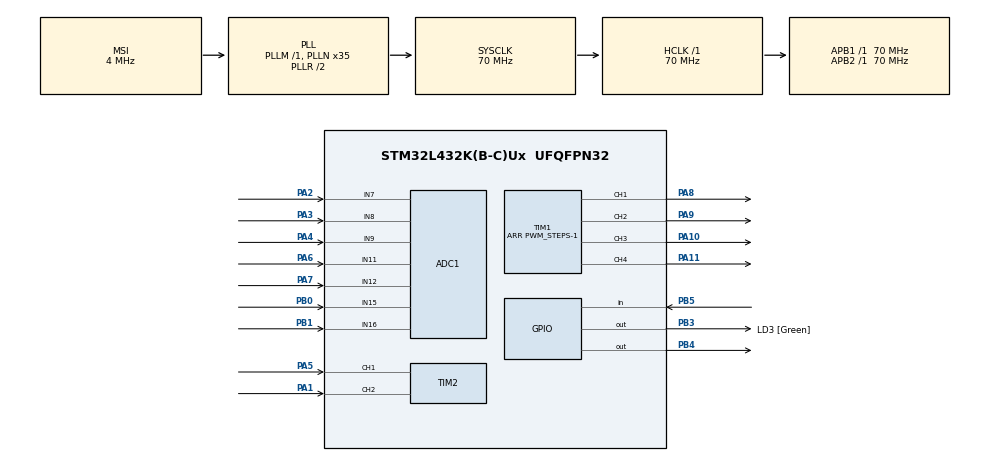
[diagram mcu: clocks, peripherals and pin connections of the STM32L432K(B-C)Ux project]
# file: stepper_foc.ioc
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ADC1.Channel-10\#ChannelRegularConversion=ADC_CHANNEL_15
ADC1.Channel-11\#ChannelRegularConversion=ADC_CHANNEL_16
ADC1.Channel-5\#ChannelRegularConversion=ADC_CHANNEL_7
ADC1.Channel-6\#ChannelRegularConversion=ADC_CHANNEL_8
ADC1.Channel-7\#ChannelRegularConversion=ADC_CHANNEL_9
ADC1.Channel-8\#ChannelRegularConversion=ADC_CHANNEL_11
ADC1.Channel-9\#ChannelRegularConversion=ADC_CHANNEL_12
ADC1.ContinuousConvMode=ENABLE
ADC1.DMAContinuousRequests=ENABLE
ADC1.EOCSelection=ADC_EOC_SEQ_CONV
ADC1.NbrOfConversion=7
ADC1.NbrOfConversionFlag=1
ADC1.OffsetNumber-10\#ChannelRegularConversion=ADC_OFFSET_NONE
ADC1.OffsetNumber-11\#ChannelRegularConversion=ADC_OFFSET_NONE
ADC1.OffsetNumber-5\#ChannelRegularConversion=ADC_OFFSET_NONE
ADC1.OffsetNumber-6\#ChannelRegularConversion=ADC_OFFSET_NONE
ADC1.OffsetNumber-7\#ChannelRegularConversion=ADC_OFFSET_NONE
ADC1.OffsetNumber-8\#ChannelRegularConversion=ADC_OFFSET_NONE
ADC1.OffsetNumber-9\#ChannelRegularConversion=ADC_OFFSET_NONE
ADC1.Rank-10\#ChannelRegularConversion=6
ADC1.Rank-11\#ChannelRegularConversion=7
ADC1.Rank-5\#ChannelRegularConversion=1
ADC1.Rank-6\#ChannelRegularConversion=2
ADC1.Rank-7\#ChannelRegularConversion=3
ADC1.Rank-8\#ChannelRegularConversion=4
ADC1.Rank-9\#ChannelRegularConversion=5
ADC1.SamplingTime-10\#ChannelRegularConversion=ADC_SAMPLETIME_24CYCLES_5
ADC1.SamplingTime-11\#ChannelRegularConversion=ADC_SAMPLETIME_24CYCLES_5
ADC1.SamplingTime-5\#ChannelRegularConversion=ADC_SAMPLETIME_24CYCLES_5
ADC1.SamplingTime-6\#ChannelRegularConversion=ADC_SAMPLETIME_24CYCLES_5
ADC1.SamplingTime-7\#ChannelRegularConversion=ADC_SAMPLETIME_24CYCLES_5
ADC1.SamplingTime-8\#ChannelRegularConversion=ADC_SAMPLETIME_24CYCLES_5
ADC1.SamplingTime-9\#ChannelRegularConversion=ADC_SAMPLETIME_24CYCLES_5
ADC1.master=1
Dma.ADC1.0.Direction=DMA_PERIPH_TO_MEMORY
Dma.ADC1.0.Instance=DMA1_Channel1
Dma.ADC1.0.MemDataAlignment=DMA_MDATAALIGN_HALFWORD
Dma.ADC1.0.MemInc=DMA_MINC_ENABLE
Dma.ADC1.0.Mode=DMA_CIRCULAR
Dma.ADC1.0.PeriphDataAlignment=DMA_PDATAALIGN_HALFWORD
Dma.ADC1.0.PeriphInc=DMA_PINC_DISABLE
Dma.ADC1.0.Priority=DMA_PRIORITY_LOW
Dma.Request0=ADC1
Mcu.Family=STM32L4
Mcu.Name=STM32L432K(B-C)Ux
Mcu.Package=UFQFPN32
NVIC.DMA1_Channel1_IRQn=true\:0\:0\:false\:false\:true\:false\:true\:true
NVIC.PriorityGroup=NVIC_PRIORITYGROUP_4
NVIC.TIM1_UP_TIM16_IRQn=true\:0\:0\:false\:false\:true\:true\:true\:true
NVIC.TIM2_IRQn=true\:0\:0\:false\:false\:true\:true\:true\:true
PA0.GPIO_Label=MCO [High speed clock in]
PA0.Mode=HSE-External-Clock-Source-for-LittleOrca
PA0.Signal=RCC_CK_IN
PA1.Signal=S_TIM2_CH2
PA10.Signal=S_TIM1_CH3
PA11.Signal=S_TIM1_CH4
PA13\ (JTMS-SWDIO).GPIO_Label=SWDIO
PA13\ (JTMS-SWDIO).Mode=Serial_Wire
PA13\ (JTMS-SWDIO).Signal=SYS_JTMS-SWDIO
PA14\ (JTCK-SWCLK).GPIO_Label=SWCLK
PA14\ (JTCK-SWCLK).Mode=Serial_Wire
PA14\ (JTCK-SWCLK).Signal=SYS_JTCK-SWCLK
PA2.Signal=ADCx_IN7
PA3.Signal=ADCx_IN8
PA4.Signal=ADCx_IN9
PA5.Signal=S_TIM2_CH1
PA6.Signal=ADCx_IN11
PA7.Signal=ADCx_IN12
PA8.Signal=S_TIM1_CH1
PA9.Signal=S_TIM1_CH2
PB0.Signal=ADCx_IN15
PB1.Signal=ADCx_IN16
PB3\ (JTDO-TRACESWO).GPIO_Label=LD3 [Green]
PB3\ (JTDO-TRACESWO).Signal=GPIO_Output
PB4\ (NJTRST).Signal=GPIO_Output
PB5.GPIO_PuPd=GPIO_PULLUP
PB5.Signal=GPIO_Input
PC14-OSC32_IN\ (PC14).Mode=LSE-External-Oscillator
PC14-OSC32_IN\ (PC14).Signal=RCC_OSC32_IN
PC15-OSC32_OUT\ (PC15).Mode=LSE-External-Oscillator
PC15-OSC32_OUT\ (PC15).Signal=RCC_OSC32_OUT
ProjectManager.HeapSize=0x200
ProjectManager.StackSize=0x400
ProjectManager.TargetToolchain=STM32CubeIDE
RCC.ADCFreq_Value=32000000
RCC.AHBFreq_Value=70000000
RCC.APB1Freq_Value=70000000
RCC.APB1TimFreq_Value=70000000
RCC.APB2Freq_Value=70000000
RCC.APB2TimFreq_Value=70000000
RCC.CortexFreq_Value=70000000
RCC.HCLKFreq_Value=70000000
RCC.HSE_VALUE=8000000
RCC.HSI16_VALUE=16000000
RCC.HSI48_VALUE=48000000
RCC.HSI_VALUE=16000000
RCC.MSI_VALUE=4000000
RCC.PLLMUL=RCC_PLLMUL_4
RCC.PLLN=35
RCC.PLLSAI1N=16
RCC.SYSCLKFreq_VALUE=70000000
RCC.SYSCLKSource=RCC_SYSCLKSOURCE_PLLCLK
RCC.USBFreq_Value=32000000
RCC.VCOOutputFreq_Value=140000000
SH.ADCx_IN11.0=ADC1_IN11,IN11-Single-Ended
SH.ADCx_IN12.0=ADC1_IN12,IN12-Single-Ended
SH.ADCx_IN15.0=ADC1_IN15,IN15-Single-Ended
SH.ADCx_IN16.0=ADC1_IN16,IN16-Single-Ended
SH.ADCx_IN7.0=ADC1_IN7,IN7-Single-Ended
SH.ADCx_IN8.0=ADC1_IN8,IN8-Single-Ended
SH.ADCx_IN9.0=ADC1_IN9,IN9-Single-Ended
SH.S_TIM1_CH1.0=TIM1_CH1,PWM Generation1 CH1
SH.S_TIM1_CH2.0=TIM1_CH2,PWM Generation2 CH2
SH.S_TIM1_CH3.0=TIM1_CH3,PWM Generation3 CH3
SH.S_TIM1_CH4.0=TIM1_CH4,PWM Generation4 CH4
SH.S_TIM2_CH1.0=TIM2_CH1,Encoder_Interface
SH.S_TIM2_CH2.0=TIM2_CH2,Encoder_Interface
TIM1.AutoReloadPreload=TIM_AUTORELOAD_PRELOAD_ENABLE
TIM1.Channel-PWM\ Generation1\ CH1=TIM_CHANNEL_1
TIM1.Channel-PWM\ Generation2\ CH2=TIM_CHANNEL_2
TIM1.Channel-PWM\ Generation3\ CH3=TIM_CHANNEL_3
TIM1.Channel-PWM\ Generation4\ CH4=TIM_CHANNEL_4
TIM1.OCFastMode_PWM-PWM\ Generation1\ CH1=TIM_OCFAST_ENABLE
TIM1.OCFastMode_PWM-PWM\ Generation2\ CH2=TIM_OCFAST_ENABLE
TIM1.OCFastMode_PWM-PWM\ Generation3\ CH3=TIM_OCFAST_ENABLE
TIM1.OCFastMode_PWM-PWM\ Generation4\ CH4=TIM_OCFAST_ENABLE
TIM1.Period=PWM_STEPS-1
TIM16.Period=TS-1
TIM16.Prescaler=70-1
TIM2.AutoReloadPreload=TIM_AUTORELOAD_PRELOAD_ENABLE
TIM2.EncoderMode=TIM_ENCODERMODE_TI12
TIM2.Period=ENCODER_STEPS-1
VP_TIM16_VS_ClockSourceINT.Mode=Enable_Timer
board=NUCLEO-L432KC

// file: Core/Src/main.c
/* USER CODE BEGIN Header */
/**
  ******************************************************************************
  * @file           : main.c
  * @brief          : Main program body
  ******************************************************************************
  * @attention
  *
  * Copyright (c) 2022 STMicroelectronics.
  * All rights reserved.
  *
  * This software is licensed under terms that can be found in the LICENSE file
  * in the root directory of this software component.
  * If no LICENSE file comes with this software, it is provided AS-IS.
  *
  ******************************************************************************
  */
/* USER CODE END Header */
#include "main.h"

/* USER CODE BEGIN Includes */
#include <math.h>
#include <stdlib.h>

/* USER CODE END Includes */

/* USER CODE BEGIN PD */
#define ENCODER_STEPS 4000					// steps of the encoder per revolution times four (due to quadrature read out)
#define PWM_STEPS 1400						// The PWM timer counts from 0 to PWM_STEPS-1 with a clock of 70 MHz (PWM_STEPS 1400 results in 50 kHz PWM frequency)
#define ADC_REF_VOLTAGE 3.3
#define ADC_STEPS 4096						// 12 bit resolution
#define SUPPLY_VOLTAGE_DIVIDER_RATIO 11.0	// the voltage on the adc channel monitoring the supply voltage is V_supply/SUPPLY_VOLTAGE_DIVIDER_RATIO
#define CURRENT_SENSOR_SENSITIVITY 0.3126	// sensitivity of the current sensor in V/A
#define TS 250								// period of the main loop in microseconds (sampling time of the current controller)
#define ALIGNMENT_TIME 3000					// for ALIGNMENT_TIME milliseconds, motor phase A is driven with approximately I_MAX in order to define the rotor zero position in which the d-axis and the a-axis are aligned
#define I_MAX 1.5		    				// maximal i_d, i_q currents
#define OVERCURRENT_LIMIT 1.9     			// i_a or i_b exceeding this current leads to a shutdown (over current protection is only active when the current controllers are running, not during the alignment phase)
#define MINIMAL_SUPPLY_VOLTAGE 8.0  		// no PWM output if the supply voltage is below MINIMAL_SUPPLY_VOLTAGE
#define PWM_STEPS_OFFSET 85					// due to the dead time of the H-bridge ic, a compare value of PWM_STEPS_OFFSET still produces zero output (PWM_STEPS_OFFSET is needed for compensating this effect)

// motor parameters
#define L 1.2E-3	// phase inductance
#define R 0.7		// phase resistance (taking into account H-bridge and wiring resistance)
#define NR 50		// number of rotor teeth (50 for a standard stepper motor with 1.8 degree step angle)

/* USER CODE END PD */

 ADC_HandleTypeDef hadc1;
DMA_HandleTypeDef hdma_adc1;

TIM_HandleTypeDef htim1;
TIM_HandleTypeDef htim2;
TIM_HandleTypeDef htim16;

/* USER CODE BEGIN PV */
volatile char triggered = 0;	/* This variable is set periodically in an
interrupt, whenever time Ts has passed. When set, the control algorithm in the main loop is executed. */

/* USER CODE END PV */

void SystemClock_Config(void);
static void MX_GPIO_Init(void);
static void MX_TIM1_Init(void);
static void MX_DMA_Init(void);
static void MX_TIM16_Init(void);
static void MX_ADC1_Init(void);
static void MX_TIM2_Init(void);
/* USER CODE BEGIN PFP */
void set_output_a(float v_a, float v_supply);
void set_output_b(float v_b, float v_supply);

/* USER CODE END PFP */

int main(void)
{
  /* USER CODE BEGIN 1 */

  // generate sin and cos tables (although periodic, generate them for all the NR electrical revolutions since there is enough memory available)
  float* sin_table = malloc(ENCODER_STEPS * sizeof(float));
  float* cos_table = malloc(ENCODER_STEPS * sizeof(float));
  for (int i = 0; i < ENCODER_STEPS; i++) {
	  float arg = i * 2 * NR * M_PI / ENCODER_STEPS;
	  sin_table[i] = (float)sin(arg);
	  cos_table[i] = (float)cos(arg);
  }

  // calculate the controller parameters
  // current controller C(z)=V*(z-exp(-R/L * Ts))/(z-1) results in closed-loop pole at 1-V/R*(1-exp(-R/L * Ts)), which must be within the unit circle
  const float E = exp(-R/L * TS * 1E-6);
  const float V = (6.0/I_MAX) < (R/(1-exp(-R/L * TS * 1E-6))) ? (6.0/I_MAX) : (R/(1-exp(-R/L * TS * 1E-6)));	/* controller gain such that for a step input i_d_ref (i_q_ref) with height I_MAX, the voltage v_d (v_q) does not exceed 6 V
 	 and such that the closed-loop pole is within the interval [0,1) */

  // calculate the conversion factors for converting the ADC readings to SI units (volts or amps)
  const float ADC_SUPPLY_VOLTAGE_CONVERSION_FACTOR = ADC_REF_VOLTAGE * SUPPLY_VOLTAGE_DIVIDER_RATIO / (float)ADC_STEPS;
  const float ADC_CURRENT_CONVERSION_FACTOR = ADC_REF_VOLTAGE / CURRENT_SENSOR_SENSITIVITY / (float)ADC_STEPS;
  const float ADC_REF_INPUTS_CONVERSION_FACTOR = 2 * I_MAX / (float)ADC_STEPS;

  /* USER CODE END 1 */

  /* MCU Configuration--------------------------------------------------------*/

  /* Reset of all peripherals, Initializes the Flash interface and the Systick. */
  HAL_Init();

  /* Configure the system clock */
  SystemClock_Config();

  /* Initialize all configured peripherals */
  MX_GPIO_Init();
  MX_TIM1_Init();
  MX_DMA_Init();
  MX_TIM16_Init();
  MX_ADC1_Init();
  MX_TIM2_Init();
  /* USER CODE BEGIN 2 */

  TIM1->CCR1 = 0;
  TIM1->CCR2 = 0;
  TIM1->CCR3 = 0;
  TIM1->CCR4 = 0;
  HAL_TIM_PWM_Start(&htim1, TIM_CHANNEL_1);		// phase B in_A
  HAL_TIM_PWM_Start(&htim1, TIM_CHANNEL_2);		// phase A in_A
  HAL_TIM_PWM_Start(&htim1, TIM_CHANNEL_3);		// phase A in_B
  HAL_TIM_PWM_Start(&htim1, TIM_CHANNEL_4);		// phase B in_B
  HAL_TIM_Encoder_Start(&htim2, TIM_CHANNEL_ALL);
  HAL_TIM_Base_Start_IT(&htim16);

  uint16_t adc_buf[7];		// ordering: adc_buf[0]: supply voltage
  	  	  	  	  	  	  	//			 adc_buf[1]: current sensor phase B ref
  	  	  	  	  	  	  	//			 adc_buf[2]: current sensor phase B out
  	  	  	  	  	  	  	//			 adc_buf[3]: current sensor phase A ref
    	  	  	  	  	  	//			 adc_buf[4]: current sensor phase A out
  	  	  	  	  	  	    //			 adc_buf[5]: i_d ref
      	  	  	  	  	  	//			 adc_buf[6]: i_q ref

  HAL_ADC_Start_DMA(&hadc1, (uint32_t*)adc_buf, 7);

  /* USER CODE END 2 */

  /* Infinite loop */
  /* USER CODE BEGIN WHILE */
  float v_supply;
  float i_a, i_b;
  float v_a, v_b;
  float i_d,i_q;
  float v_d, v_q;
  float i_d_ref, i_q_ref;

  int cnt;
  float sin_value;
  float cos_value;

  float e_i_d, e_i_q;
  float e_i_d_prev = 0;
  float e_i_q_prev = 0;
  float v_d_prev = 0;
  float v_q_prev = 0;

  int limit_hit_flag = 0;

  HAL_Delay(100);
  // turn on green LED to indicate ready state and wait for button to be pressed before continuing
  HAL_GPIO_WritePin(GPIOB, GPIO_PIN_3, GPIO_PIN_SET);			// turn on green LED
  while(HAL_GPIO_ReadPin(GPIOB, GPIO_PIN_5) == GPIO_PIN_SET);	// wait for button being pressed
  HAL_GPIO_WritePin(GPIOB, GPIO_PIN_3, GPIO_PIN_RESET);			// turn off green LED

  /* Hold the current in phase A at approximately I_MAX for ALIGNMENT_TIME milliseconds. The position in which the rotor settles defines the
   * zero position in which the d-axis and the a-axis are aligned. */
  v_supply = (float)adc_buf[0] * ADC_SUPPLY_VOLTAGE_CONVERSION_FACTOR;
  //set_output_a(R * I_MAX, v_supply);
  set_output_a(R * I_MAX, v_supply);
  HAL_Delay(ALIGNMENT_TIME);
  TIM2->CNT = 0;
  set_output_a(0.0, 0.0);
  HAL_Delay(100);

  HAL_GPIO_WritePin(GPIOB, GPIO_PIN_3, GPIO_PIN_SET);			// turn on green LED
  while(HAL_GPIO_ReadPin(GPIOB, GPIO_PIN_5) == GPIO_PIN_SET);	// wait for button being pressed
  HAL_GPIO_WritePin(GPIOB, GPIO_PIN_3, GPIO_PIN_RESET);			// turn off green LED

  while (1)
  {
    /* USER CODE END WHILE */

    /* USER CODE BEGIN 3 */
	if (triggered) {
		triggered = 0;
		HAL_GPIO_WritePin(GPIOB, GPIO_PIN_3, GPIO_PIN_SET);		// allows for measuring the execution time of one cycle of the control algorithm via a oscilloscope

		// read the phase currents i_a and i_b
		i_a = (float)(adc_buf[4] - adc_buf[3]) * ADC_CURRENT_CONVERSION_FACTOR;
		i_b = (float)(adc_buf[2] - adc_buf[1]) * ADC_CURRENT_CONVERSION_FACTOR;

        // shut down if currents exceed the over current limit
        if (i_a > OVERCURRENT_LIMIT || i_b > OVERCURRENT_LIMIT || -i_a > OVERCURRENT_LIMIT || -i_b > OVERCURRENT_LIMIT) {
          set_output_a(0.0, 0.0);
          set_output_b(0.0, 0.0);
          HAL_GPIO_WritePin(GPIOB, GPIO_PIN_4, GPIO_PIN_SET);		// turn on the red LED
          while(1);   // wait for reset
        }

		// calculate the currents i_d and i_q
		cnt = TIM2->CNT;	// read the encoder angle

		sin_value = sin_table[cnt];
		cos_value = cos_table[cnt];

		i_d = cos_value * i_a + sin_value * i_b;
		i_q = -sin_value * i_a + cos_value * i_b;

		// read the set points i_d_ref and i_q_ref for the currents i_d and i_q
		//i_d_ref = (float)(adc_buf[5] - (ADC_STEPS >> 1)) * ADC_REF_INPUTS_CONVERSION_FACTOR;
		i_d_ref = 0;
		i_q_ref = (float)(adc_buf[6] - (ADC_STEPS >> 1)) * ADC_REF_INPUTS_CONVERSION_FACTOR;

		// calculate v_d and v_q via the current controllers difference equations
		e_i_d = i_d_ref - i_d;
		e_i_q = i_q_ref - i_q;

		v_d = V * (e_i_d - E * e_i_d_prev) + v_d_prev;
		v_q = V * (e_i_q - E * e_i_q_prev) + v_q_prev;

	    e_i_d_prev = e_i_d;
	    e_i_q_prev = e_i_q;

		// calculate the phase voltages v_a and v_b
		v_a = cos_value * v_d - sin_value * v_q;
		v_b = sin_value * v_d + cos_value * v_q;

		// check whether the calculated voltages are within the supply voltage (i.e. whether they are realizable)
		v_supply = (float)adc_buf[0] * ADC_SUPPLY_VOLTAGE_CONVERSION_FACTOR;	// read the supply voltage
		if (v_a > v_supply) {
			limit_hit_flag = 1;
			v_a = v_supply;
		} else if (v_a < -v_supply) {
			limit_hit_flag = 1;
		    v_a = -v_supply;
		}

		if (v_b > v_supply) {
			limit_hit_flag = 1;
		    v_b = v_supply;
		} else if (v_b < -v_supply) {
			limit_hit_flag = 1;
		    v_b = -v_supply;
		}

		// apply the calculated phase voltages v_a and v_b to the motor phases
		set_output_a(v_a, v_supply);
		set_output_b(v_b, v_supply);

		if (limit_hit_flag) {
			HAL_GPIO_WritePin(GPIOB, GPIO_PIN_4, GPIO_PIN_SET);		// turn on the red LED
			// calculate the actually realized v_d and v_q voltages (anti windup)
			v_d = cos_value * v_a + sin_value * v_b;
			v_q = -sin_value * v_a + cos_value * v_b;
			limit_hit_flag = 0;
		} else {
			HAL_GPIO_WritePin(GPIOB, GPIO_PIN_4, GPIO_PIN_RESET);	// turn off the red LED
		}

		v_d_prev = v_d;
		v_q_prev = v_q;

		HAL_GPIO_WritePin(GPIOB, GPIO_PIN_3, GPIO_PIN_RESET);	// allows for measuring the execution time of one cycle of the control algorithm via a oscilloscope
	}

  }
  /* USER CODE END 3 */
}

void SystemClock_Config(void)
{
  RCC_OscInitTypeDef RCC_OscInitStruct = {0};
  RCC_ClkInitTypeDef RCC_ClkInitStruct = {0};

  /** Configure the main internal regulator output voltage
  */
  if (HAL_PWREx_ControlVoltageScaling(PWR_REGULATOR_VOLTAGE_SCALE1) != HAL_OK)
  {
    Error_Handler();
  }

  /** Configure LSE Drive Capability
  */
  HAL_PWR_EnableBkUpAccess();
  __HAL_RCC_LSEDRIVE_CONFIG(RCC_LSEDRIVE_LOW);

  /** Initializes the RCC Oscillators according to the specified parameters
  * in the RCC_OscInitTypeDef structure.
  */
  RCC_OscInitStruct.OscillatorType = RCC_OSCILLATORTYPE_LSE|RCC_OSCILLATORTYPE_MSI;
  RCC_OscInitStruct.LSEState = RCC_LSE_ON;
  RCC_OscInitStruct.MSIState = RCC_MSI_ON;
  RCC_OscInitStruct.MSICalibrationValue = 0;
  RCC_OscInitStruct.MSIClockRange = RCC_MSIRANGE_6;
  RCC_OscInitStruct.PLL.PLLState = RCC_PLL_ON;
  RCC_OscInitStruct.PLL.PLLSource = RCC_PLLSOURCE_MSI;
  RCC_OscInitStruct.PLL.PLLM = 1;
  RCC_OscInitStruct.PLL.PLLN = 35;
  RCC_OscInitStruct.PLL.PLLP = RCC_PLLP_DIV7;
  RCC_OscInitStruct.PLL.PLLQ = RCC_PLLQ_DIV2;
  RCC_OscInitStruct.PLL.PLLR = RCC_PLLR_DIV2;
  if (HAL_RCC_OscConfig(&RCC_OscInitStruct) != HAL_OK)
  {
    Error_Handler();
  }

  /** Initializes the CPU, AHB and APB buses clocks
  */
  RCC_ClkInitStruct.ClockType = RCC_CLOCKTYPE_HCLK|RCC_CLOCKTYPE_SYSCLK
                              |RCC_CLOCKTYPE_PCLK1|RCC_CLOCKTYPE_PCLK2;
  RCC_ClkInitStruct.SYSCLKSource = RCC_SYSCLKSOURCE_PLLCLK;
  RCC_ClkInitStruct.AHBCLKDivider = RCC_SYSCLK_DIV1;
  RCC_ClkInitStruct.APB1CLKDivider = RCC_HCLK_DIV1;
  RCC_ClkInitStruct.APB2CLKDivider = RCC_HCLK_DIV1;

  if (HAL_RCC_ClockConfig(&RCC_ClkInitStruct, FLASH_LATENCY_4) != HAL_OK)
  {
    Error_Handler();
  }

  /** Enable MSI Auto calibration
  */
  HAL_RCCEx_EnableMSIPLLMode();
}

static void MX_ADC1_Init(void)
{

  ADC_ChannelConfTypeDef sConfig = {0};

  /** Common config
  */
  hadc1.Instance = ADC1;
  hadc1.Init.ClockPrescaler = ADC_CLOCK_ASYNC_DIV1;
  hadc1.Init.Resolution = ADC_RESOLUTION_12B;
  hadc1.Init.DataAlign = ADC_DATAALIGN_RIGHT;
  hadc1.Init.ScanConvMode = ADC_SCAN_ENABLE;
  hadc1.Init.EOCSelection = ADC_EOC_SEQ_CONV;
  hadc1.Init.LowPowerAutoWait = DISABLE;
  hadc1.Init.ContinuousConvMode = ENABLE;
  hadc1.Init.NbrOfConversion = 7;
  hadc1.Init.DiscontinuousConvMode = DISABLE;
  hadc1.Init.ExternalTrigConv = ADC_SOFTWARE_START;
  hadc1.Init.ExternalTrigConvEdge = ADC_EXTERNALTRIGCONVEDGE_NONE;
  hadc1.Init.DMAContinuousRequests = ENABLE;
  hadc1.Init.Overrun = ADC_OVR_DATA_PRESERVED;
  hadc1.Init.OversamplingMode = DISABLE;
  if (HAL_ADC_Init(&hadc1) != HAL_OK)
  {
    Error_Handler();
  }

  /** Configure Regular Channel
  */
  sConfig.Channel = ADC_CHANNEL_7;
  sConfig.Rank = ADC_REGULAR_RANK_1;
  sConfig.SamplingTime = ADC_SAMPLETIME_24CYCLES_5;
  sConfig.SingleDiff = ADC_SINGLE_ENDED;
  sConfig.OffsetNumber = ADC_OFFSET_NONE;
  sConfig.Offset = 0;
  if (HAL_ADC_ConfigChannel(&hadc1, &sConfig) != HAL_OK)
  {
    Error_Handler();
  }

  /** Configure Regular Channel
  */
  sConfig.Channel = ADC_CHANNEL_8;
  sConfig.Rank = ADC_REGULAR_RANK_2;
  if (HAL_ADC_ConfigChannel(&hadc1, &sConfig) != HAL_OK)
  {
    Error_Handler();
  }

  /** Configure Regular Channel
  */
  sConfig.Channel = ADC_CHANNEL_9;
  sConfig.Rank = ADC_REGULAR_RANK_3;
  if (HAL_ADC_ConfigChannel(&hadc1, &sConfig) != HAL_OK)
  {
    Error_Handler();
  }

  /** Configure Regular Channel
  */
  sConfig.Channel = ADC_CHANNEL_11;
  sConfig.Rank = ADC_REGULAR_RANK_4;
  if (HAL_ADC_ConfigChannel(&hadc1, &sConfig) != HAL_OK)
  {
    Error_Handler();
  }

  /** Configure Regular Channel
  */
  sConfig.Channel = ADC_CHANNEL_12;
  sConfig.Rank = ADC_REGULAR_RANK_5;
  if (HAL_ADC_ConfigChannel(&hadc1, &sConfig) != HAL_OK)
  {
    Error_Handler();
  }

  /** Configure Regular Channel
  */
  sConfig.Channel = ADC_CHANNEL_15;
  sConfig.Rank = ADC_REGULAR_RANK_6;
  if (HAL_ADC_ConfigChannel(&hadc1, &sConfig) != HAL_OK)
  {
    Error_Handler();
  }

  /** Configure Regular Channel
  */
  sConfig.Channel = ADC_CHANNEL_16;
  sConfig.Rank = ADC_REGULAR_RANK_7;
  if (HAL_ADC_ConfigChannel(&hadc1, &sConfig) != HAL_OK)
  {
    Error_Handler();
  }

}

static void MX_TIM1_Init(void)
{

  TIM_MasterConfigTypeDef sMasterConfig = {0};
  TIM_OC_InitTypeDef sConfigOC = {0};
  TIM_BreakDeadTimeConfigTypeDef sBreakDeadTimeConfig = {0};

  htim1.Instance = TIM1;
  htim1.Init.Prescaler = 0;
  htim1.Init.CounterMode = TIM_COUNTERMODE_UP;
  htim1.Init.Period = PWM_STEPS-1;
  htim1.Init.ClockDivision = TIM_CLOCKDIVISION_DIV1;
  htim1.Init.RepetitionCounter = 0;
  htim1.Init.AutoReloadPreload = TIM_AUTORELOAD_PRELOAD_ENABLE;
  if (HAL_TIM_PWM_Init(&htim1) != HAL_OK)
  {
    Error_Handler();
  }
  sMasterConfig.MasterOutputTrigger = TIM_TRGO_RESET;
  sMasterConfig.MasterOutputTrigger2 = TIM_TRGO2_RESET;
  sMasterConfig.MasterSlaveMode = TIM_MASTERSLAVEMODE_DISABLE;
  if (HAL_TIMEx_MasterConfigSynchronization(&htim1, &sMasterConfig) != HAL_OK)
  {
    Error_Handler();
  }
  sConfigOC.OCMode = TIM_OCMODE_PWM1;
  sConfigOC.Pulse = 0;
  sConfigOC.OCPolarity = TIM_OCPOLARITY_HIGH;
  sConfigOC.OCNPolarity = TIM_OCNPOLARITY_HIGH;
  sConfigOC.OCFastMode = TIM_OCFAST_ENABLE;
  sConfigOC.OCIdleState = TIM_OCIDLESTATE_RESET;
  sConfigOC.OCNIdleState = TIM_OCNIDLESTATE_RESET;
  if (HAL_TIM_PWM_ConfigChannel(&htim1, &sConfigOC, TIM_CHANNEL_1) != HAL_OK)
  {
    Error_Handler();
  }
  if (HAL_TIM_PWM_ConfigChannel(&htim1, &sConfigOC, TIM_CHANNEL_2) != HAL_OK)
  {
    Error_Handler();
  }
  if (HAL_TIM_PWM_ConfigChannel(&htim1, &sConfigOC, TIM_CHANNEL_3) != HAL_OK)
  {
    Error_Handler();
  }
  if (HAL_TIM_PWM_ConfigChannel(&htim1, &sConfigOC, TIM_CHANNEL_4) != HAL_OK)
  {
    Error_Handler();
  }
  sBreakDeadTimeConfig.OffStateRunMode = TIM_OSSR_DISABLE;
  sBreakDeadTimeConfig.OffStateIDLEMode = TIM_OSSI_DISABLE;
  sBreakDeadTimeConfig.LockLevel = TIM_LOCKLEVEL_OFF;
  sBreakDeadTimeConfig.DeadTime = 0;
  sBreakDeadTimeConfig.BreakState = TIM_BREAK_DISABLE;
  sBreakDeadTimeConfig.BreakPolarity = TIM_BREAKPOLARITY_HIGH;
  sBreakDeadTimeConfig.BreakFilter = 0;
  sBreakDeadTimeConfig.Break2State = TIM_BREAK2_DISABLE;
  sBreakDeadTimeConfig.Break2Polarity = TIM_BREAK2POLARITY_HIGH;
  sBreakDeadTimeConfig.Break2Filter = 0;
  sBreakDeadTimeConfig.AutomaticOutput = TIM_AUTOMATICOUTPUT_DISABLE;
  if (HAL_TIMEx_ConfigBreakDeadTime(&htim1, &sBreakDeadTimeConfig) != HAL_OK)
  {
    Error_Handler();
  }
  HAL_TIM_MspPostInit(&htim1);

}

static void MX_TIM2_Init(void)
{

  TIM_Encoder_InitTypeDef sConfig = {0};
  TIM_MasterConfigTypeDef sMasterConfig = {0};

  htim2.Instance = TIM2;
  htim2.Init.Prescaler = 0;
  htim2.Init.CounterMode = TIM_COUNTERMODE_UP;
  htim2.Init.Period = ENCODER_STEPS-1;
  htim2.Init.ClockDivision = TIM_CLOCKDIVISION_DIV1;
  htim2.Init.AutoReloadPreload = TIM_AUTORELOAD_PRELOAD_ENABLE;
  sConfig.EncoderMode = TIM_ENCODERMODE_TI12;
  sConfig.IC1Polarity = TIM_ICPOLARITY_RISING;
  sConfig.IC1Selection = TIM_ICSELECTION_DIRECTTI;
  sConfig.IC1Prescaler = TIM_ICPSC_DIV1;
  sConfig.IC1Filter = 0;
  sConfig.IC2Polarity = TIM_ICPOLARITY_RISING;
  sConfig.IC2Selection = TIM_ICSELECTION_DIRECTTI;
  sConfig.IC2Prescaler = TIM_ICPSC_DIV1;
  sConfig.IC2Filter = 0;
  if (HAL_TIM_Encoder_Init(&htim2, &sConfig) != HAL_OK)
  {
    Error_Handler();
  }
  sMasterConfig.MasterOutputTrigger = TIM_TRGO_RESET;
  sMasterConfig.MasterSlaveMode = TIM_MASTERSLAVEMODE_DISABLE;
  if (HAL_TIMEx_MasterConfigSynchronization(&htim2, &sMasterConfig) != HAL_OK)
  {
    Error_Handler();
  }

}

static void MX_TIM16_Init(void)
{

  htim16.Instance = TIM16;
  htim16.Init.Prescaler = 70-1;
  htim16.Init.CounterMode = TIM_COUNTERMODE_UP;
  htim16.Init.Period = TS-1;
  htim16.Init.ClockDivision = TIM_CLOCKDIVISION_DIV1;
  htim16.Init.RepetitionCounter = 0;
  htim16.Init.AutoReloadPreload = TIM_AUTORELOAD_PRELOAD_DISABLE;
  if (HAL_TIM_Base_Init(&htim16) != HAL_OK)
  {
    Error_Handler();
  }

}

static void MX_DMA_Init(void)
{

  /* DMA controller clock enable */
  __HAL_RCC_DMA1_CLK_ENABLE();

  /* DMA interrupt init */
  /* DMA1_Channel1_IRQn interrupt configuration */
  HAL_NVIC_SetPriority(DMA1_Channel1_IRQn, 0, 0);
  HAL_NVIC_EnableIRQ(DMA1_Channel1_IRQn);

}

static void MX_GPIO_Init(void)
{
  GPIO_InitTypeDef GPIO_InitStruct = {0};

  /* GPIO Ports Clock Enable */
  __HAL_RCC_GPIOC_CLK_ENABLE();
  __HAL_RCC_GPIOA_CLK_ENABLE();
  __HAL_RCC_GPIOB_CLK_ENABLE();

  /*Configure GPIO pin Output Level */
  HAL_GPIO_WritePin(GPIOB, LD3_Pin|GPIO_PIN_4, GPIO_PIN_RESET);

  /*Configure GPIO pins : LD3_Pin PB4 */
  GPIO_InitStruct.Pin = LD3_Pin|GPIO_PIN_4;
  GPIO_InitStruct.Mode = GPIO_MODE_OUTPUT_PP;
  GPIO_InitStruct.Pull = GPIO_NOPULL;
  GPIO_InitStruct.Speed = GPIO_SPEED_FREQ_LOW;
  HAL_GPIO_Init(GPIOB, &GPIO_InitStruct);

  /*Configure GPIO pin : PB5 */
  GPIO_InitStruct.Pin = GPIO_PIN_5;
  GPIO_InitStruct.Mode = GPIO_MODE_INPUT;
  GPIO_InitStruct.Pull = GPIO_PULLUP;
  HAL_GPIO_Init(GPIOB, &GPIO_InitStruct);

}

/* USER CODE BEGIN 4 */

void set_output_a(float v_a, float v_supply) {
    if (v_supply < MINIMAL_SUPPLY_VOLTAGE) {   // no output when supply voltage is too low
        TIM1->CCR2 = 0;
        TIM1->CCR3 = 0;
        return;
    }
	if (v_a > 0) {
		TIM1->CCR3 = 0;
		TIM1->CCR2 = (uint32_t)(PWM_STEPS * v_a/v_supply) + PWM_STEPS_OFFSET;
	} else {
		TIM1->CCR2 = 0;
		TIM1->CCR3 = (uint32_t)(-PWM_STEPS * v_a/v_supply) + PWM_STEPS_OFFSET;
	}
}

void set_output_b(float v_b, float v_supply) {
    if (v_supply < MINIMAL_SUPPLY_VOLTAGE) {   // no output when supply voltage is too low
        TIM1->CCR1 = 0;
        TIM1->CCR4 = 0;
        return;
    }
	if (v_b > 0) {
		TIM1->CCR4 = 0;
		TIM1->CCR1 = (uint32_t)(PWM_STEPS * v_b/v_supply) + PWM_STEPS_OFFSET;
	} else {
		TIM1->CCR1 = 0;
		TIM1->CCR4 = (uint32_t)(-PWM_STEPS * v_b/v_supply) + PWM_STEPS_OFFSET;
	}
}

void HAL_TIM_PeriodElapsedCallback(TIM_HandleTypeDef *htim) {
	if (htim == &htim16) {
		triggered = 1;
	}
}

/* USER CODE END 4 */

void Error_Handler(void)
{
  __disable_irq();
  while (1)
  {
  }
}
